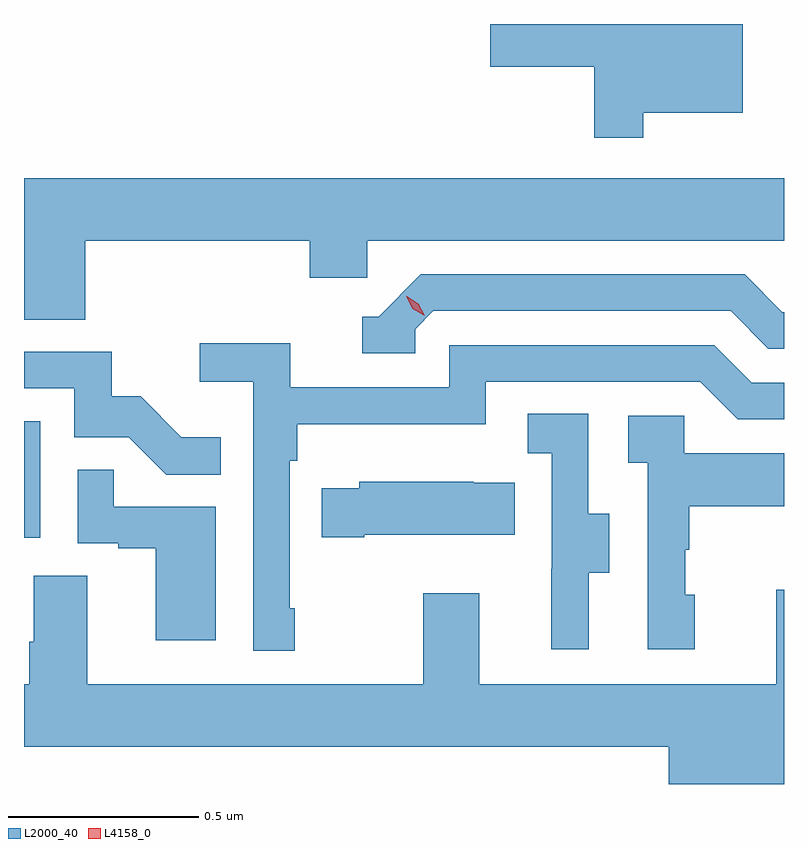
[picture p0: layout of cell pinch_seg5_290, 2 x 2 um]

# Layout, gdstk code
import gdstk
lib = gdstk.Library(unit=1e-6, precision=1e-09)
def R(c, l, rs):  # rectangles x0, y0, x1, y1
    for r in rs: c.add(gdstk.rectangle(r[:2], r[2:], *l))
def P(c, l, *ps):  # polygons
    for p in ps: c.add(gdstk.Polygon(p, *l))
L2000_40 = (2000, 40)
L4158_0 = (4158, 0)

pinch_seg5_290 = lib.new_cell('pinch_seg5_290')
R(pinch_seg5_290, L2000_40, [(904.701,910.59,904.744,910.897)])
P(pinch_seg5_290, L2000_40, [(906.331,911.708),(906.592,911.708),(906.592,911.942),(905.928,911.942),(905.928,911.83),(906.202,911.83),(906.202,911.643),(906.331,911.643)],
  [(904.862,911.372),(905.453,911.372),(905.453,911.274),(905.604,911.274),(905.604,911.372),(906.701,911.372),(906.701,911.536),(904.701,911.536),(904.701,911.164),(904.862,911.164)],
  [(905.73,911.139),(905.778,911.187),(906.561,911.187),(906.66,911.088),(906.701,911.088),(906.701,911.184),(906.697,911.184),(906.598,911.283),(905.745,911.283),(905.634,911.172),(905.591,911.172),(905.591,911.076),(905.73,911.076)],
  [(905.413,910.405),(905.4,910.405),(905.4,910.793),(905.42,910.793),(905.42,910.889),(905.916,910.889),(905.916,911.001),(906.48,911.001),(906.579,910.902),(906.701,910.902),(906.701,910.998),(906.616,910.998),(906.517,911.097),(905.82,911.097),(905.82,910.986),(905.402,910.986),(905.402,911.102),(905.163,911.102),(905.163,911),(905.304,911),(905.304,910.293),(905.413,910.293)],
  [(905.219,910.855),(905.115,910.855),(905.008,910.962),(904.932,910.962),(904.932,911.079),(904.701,911.079),(904.701,910.983),(904.833,910.983),(904.833,910.854),(904.977,910.854),(905.075,910.756),(905.219,910.756)],
  [(906.187,910.498),(906.241,910.498),(906.241,910.653),(906.186,910.653),(906.186,910.916),(906.027,910.916),(906.027,910.813),(906.09,910.813),(906.09,910.509),(906.089,910.509),(906.089,910.296),(906.187,910.296)],
  [(906.466,910.44),(906.441,910.44),(906.441,910.559),(906.451,910.559),(906.451,910.673),(906.701,910.673),(906.701,910.813),(906.438,910.813),(906.438,910.911),(906.291,910.911),(906.291,910.787),(906.342,910.787),(906.342,910.296),(906.466,910.296)],
  [(905.206,910.671),(904.937,910.671),(904.937,910.769),(904.842,910.769),(904.842,910.575),(904.949,910.575),(904.949,910.563),(905.048,910.563),(905.048,910.32),(905.206,910.32)],
  [(905.596,910.598),(905.993,910.598),(905.993,910.735),(905.885,910.735),(905.885,910.738),(905.583,910.738),(905.583,910.72),(905.485,910.72),(905.485,910.591),(905.596,910.591)],
  [(906.701,910.453),(906.68,910.453),(906.68,910.204),(905.899,910.204),(905.899,910.444),(905.752,910.444),(905.752,910.204),(904.867,910.204),(904.867,910.49),(904.727,910.49),(904.727,910.316),(904.715,910.316),(904.715,910.204),(904.701,910.204),(904.701,910.04),(906.398,910.04),(906.398,909.942),(906.701,909.942)])
P(pinch_seg5_290, L4158_0, [(905.755,911.174),(905.724,911.193),(905.707,911.225),(905.707,911.226),(905.708,911.226),(905.738,911.206),(905.755,911.174),(905.755,911.174)])

lib.write_gds('pinch_seg5_290.gds')
